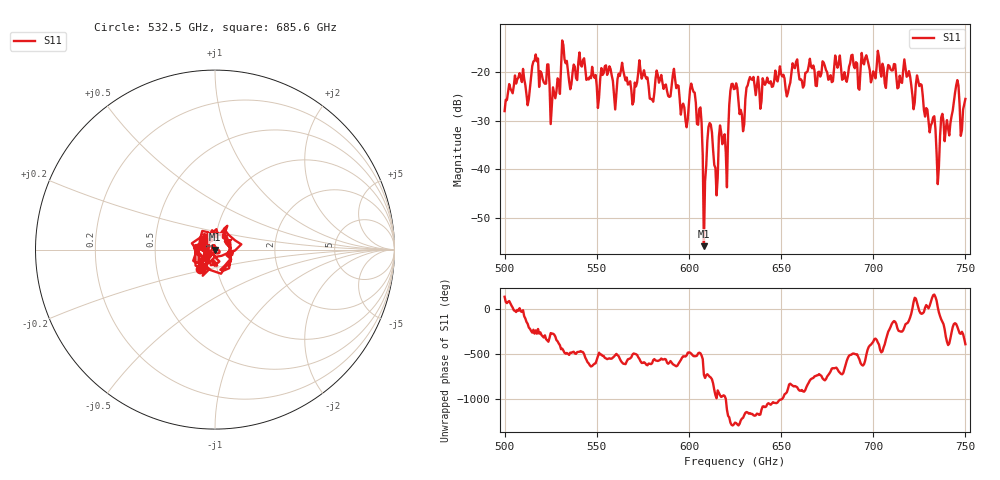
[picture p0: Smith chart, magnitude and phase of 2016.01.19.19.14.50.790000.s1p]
!Created with skrf (http://scikit-rf.org).
# GHz S RI R 50.0
!freq ReS11 ImS11
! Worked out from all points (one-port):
!   401 points, 500 GHz to 750 GHz, reference 50 ohm
!   lowest |S11| = -55.8 dB at 608.1 GHz (marker M1), VSWR 1.00, Z = 50.2 - j0.0371 ohm
!   |S11| at or under -10 dB: start of sweep to end of sweep
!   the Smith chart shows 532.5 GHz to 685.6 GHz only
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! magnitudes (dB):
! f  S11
! 500 GHz  -28.0
! 508.8 GHz  -20.9
! 513.1 GHz  -25.5
! 516.9 GHz  -16.3
! 526.2 GHz  -23.1
! 531.2 GHz  -13.4
! 550 GHz  -22.8
! 562.5 GHz  -20.7
! 593.8 GHz  -22.6
! 598.1 GHz  -29.9
! 602.5 GHz  -24.0
! 606.2 GHz  -27.2
! 608.1 GHz  -55.8
! 611.2 GHz  -30.4
! 614.4 GHz  -39.7
! 617.5 GHz  -32.3
! 620 GHz  -36.5
! 625 GHz  -23.3
! 628.8 GHz  -28.7
! 633.8 GHz  -21.4
! 656.2 GHz  -18.1
! 687.5 GHz  -18.1
! 718.8 GHz  -20.7
! 725 GHz  -22.8
! 735 GHz  -43.0
! 745 GHz  -22.7
! 748.1 GHz  -31.8
! 750 GHz  -25.5
